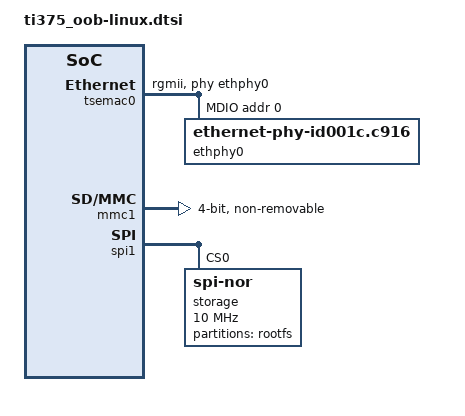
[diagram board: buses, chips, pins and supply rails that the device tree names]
// SPDX-License-Identifier: GPL-2.0
/*
 * ti375_oob: devices of the Linux hard SoC that the generator cannot describe.
 *
 * efx config includes it at the end of the generated
 * boards/efinix/ti375c529/linux/linux.dts and copies it next to it for the
 * kernel build (BR2_LINUX_KERNEL_CUSTOM_DTS_PATH).
 *
 * DDR, all no-map: Linux never touches these ranges, and nothing but the
 * owning driver maps them.
 *
 *   0x1E00_0000  32 MiB   FCU firmware (PX4 on NuttX), loaded by remoteproc;
 *                         AMP_FCU_MEM_* in ti375_oob sw/amp/amp_ctrl.h. The
 *                         last 2 MiB are meant for the Linux <-> FCU rpmsg
 *                         buffers once that is added.
 *   0x3800_0000  64 MiB   npu0
 *   0x3C00_0000  64 MiB   npu1
 *
 * NPU blobs are compiled for fixed addresses (rtl/snpu_system.json: npu0
 * 0x2000_0000 / 0x2800_0000, npu1 0x3000_0000 / 0x3800_0000), which Linux now
 * owns; the snpu driver relocates them into these regions at run time. A
 * region has to hold the blob and its scratch; YOLOv8s needs 23 MiB on npu0
 * and 34 MiB on npu1. The last MiB of each is the driver's descriptor area.
 */

/ {
	aliases {
		npu0 = &npu0;
		npu1 = &npu1;
	};

	reserved-memory {
		#address-cells = <1>;
		#size-cells = <1>;
		ranges;

		fcu_mem: fcu@1e000000 {
			reg = <0x1e000000 0x02000000>;
			no-map;
		};

		npu0_mem: npu0@38000000 {
			reg = <0x38000000 0x04000000>;
			no-map;
		};

		npu1_mem: npu1@3c000000 {
			reg = <0x3c000000 0x04000000>;
			no-map;
		};
	};

	/* StalyaNPU 32x16, CSR block on the hard SoC APB window, PLIC 9 */
	npu0: npu@e8104000 {
		compatible = "stalya,snpu";
		reg = <0xe8104000 0x100>;
		interrupt-parent = <&plic>;
		interrupts = <9>;
		memory-region = <&npu0_mem>;
	};

	/* StalyaNPU 16x8, PLIC 10 */
	npu1: npu@e8104100 {
		compatible = "stalya,snpu";
		reg = <0xe8104100 0x100>;
		interrupt-parent = <&plic>;
		interrupts = <10>;
		memory-region = <&npu1_mem>;
	};

	/*
	 * Soft FCU SoC through amp_ctrl; doorbell from the FCU on PLIC 11. The
	 * FCU is held from reset until this driver starts it: with auto-boot it
	 * loads /lib/firmware/<firmware-name> and starts it when it probes.
	 */
	/*
	 * gDMA (SpinalHDL dmasg) moves the Ethernet frames. It sits in the
	 * lowest 16 KiB of the hard SoC's APB window; the rest of that window
	 * belongs to the NPU (+0x4000) and amp_ctrl (+0x8000), so only its own
	 * 16 KiB are claimed here. Channel 0 is receive, channel 1 transmit
	 * (rtl/ti375_oob_top.v, dma_interrupts -> userInterruptG/H = PLIC 7/8).
	 */
	eth_dma: dma@e8100000 {
		compatible = "spinal,lib-dmasg";
		reg = <0xe8100000 0x4000>;
		interrupt-parent = <&plic>;
		interrupts = <7>, <8>;		/* [0] rx, [1] tx */
		#dma-cells = <1>;
		axistream-connected = <&tsemac0>;
		axistream-control-connected = <&tsemac0>;
	};

	/*
	 * gTSE, the Ethernet MAC, on AXI slave 0 of the hard SoC (16 MiB
	 * window, of which the driver touches the MAC at 0x000, the MDIO bus
	 * at 0x100 and the control block at 0x200).
	 *
	 * The RGMII timing is made in the fabric, so the PHY must not add its
	 * own delays: the mode is plain "rgmii". Transmit runs on a clock made
	 * from the PHY's CLKOUT, with TXC shifted 90 degrees; receive samples
	 * on a clock a second PLL makes from the PHY's own RXC (it used to come
	 * from CLKOUT too, which only held when the PHY was the 1000BASE-T
	 * master). The PHY reset is a control register of the MAC, not a GPIO,
	 * and the driver drives it.
	 */
	tsemac0: ethernet@ea000000 {
		compatible = "efinix,tsemac-0.01.a";
		device_type = "network";
		reg = <0xea000000 0x1000>;
		axistream-connected = <&eth_dma>;
		axistream-control-connected = <&eth_dma>;
		phy-mode = "rgmii";
		phy-handle = <&ethphy0>;
		local-mac-address = [ 02 53 54 41 4c 59 ];
		efx,rxcsum = <0x0>;
		efx,txcsum = <0x0>;
		efx,rxmem = <0x1000>;

		mdio {
			#address-cells = <1>;
			#size-cells = <0>;

			/*
			 * RTL8211F at MDIO address 0. The RX path of this
			 * bitstream is wired to the gigabit receive clock
			 * only (ETH_1000MBPS in the top level), so the link
			 * has to come up at 1000FD.
			 */
			ethphy0: ethernet-phy@0 {
				compatible = "ethernet-phy-id001c.c916";
				reg = <0>;
				max-speed = <1000>;
				reset-assert-us = <500000>;
				reset-deassert-us = <500000>;
			};
		};
	};

	fcu: fcu@e8108000 {
		compatible = "stalya,fcu-rproc";
		reg = <0xe8108000 0x40>;
		interrupt-parent = <&plic>;
		interrupts = <11>;
		memory-region = <&fcu_mem>;
		firmware-name = "px4_fcu.elf";
		stalya,auto-boot;
	};
};

/*
 * The SD card-detect interrupt never reaches Linux on this design: a card put
 * in after boot stays unseen until the host is rebound. Poll for it instead
 * (mmc core checks once a second).
 */
&mmc0 {
	broken-cd;
};

/*
 * The on-board eMMC (U43, H26M41208HPRI, 8 GB) on a second instance of the SD
 * host controller at 0xEB10_0000, interrupt on PLIC 2 (rtl/ti375_oob_top.v,
 * u_gSDHC_emmc). The controller has four data lines, so the eMMC runs 4 bit
 * although the chip has eight. As on mmc0, max-frequency is the controller's
 * base clock (sd_base_clk, 100 MHz), which the driver divides down. The
 * aliases keep the SD card at mmcblk0 and put the eMMC at mmcblk1.
 */
/ {
	aliases {
		mmc0 = &mmc0;
		mmc1 = &mmc1;
	};

	mmc1: mmc@eb100000 {
		compatible = "efx,sdhci";
		reg = <0xeb100000 0x10000>;
		interrupt-parent = <&plic>;
		interrupts = <2>;
		clocks = <&clock>;
		clock-frequency = <200000000>;
		max-frequency = <100000000>;
		bus-width = <4>;
		non-removable;
		no-sd;
		no-sdio;
		status = "okay";
	};
};

/*
 * The board carries two IS25WP512M flashes (64 MiB each) on the hard SoC's
 * SPI buses, sharing one SCLK pin (ti375_oob_top.v). Only one controller may
 * drive that pin at a time, which the SPI driver enforces with a lock across
 * controllers (patches/linux/6.6/0012-spi-spinal-lib-...).
 *
 * SPI0 is the flash the FPGA configures from and the one the JTAG bridge
 * writes: both work in 3 byte addressing, so the boot image stays under
 * 16 MiB. The rest of that chip holds what Linux writes but the bootloader
 * never reads: the FCU firmware and the board's own data.
 *
 * SPI1 is not wired to the configuration engine at all and carries the root
 * filesystem, all 64 MiB of it.
 */

&flash {
	/* The boot image ends at 16 MiB; the rest of the chip is ours. */
	partition@1000000 {
		reg = <0x1000000 0x800000>;	/* 8 MiB */
		label = "fcu_firmware";
	};

	partition@1800000 {
		reg = <0x1800000 0x2800000>;	/* 40 MiB */
		label = "data";
	};
};

&spi1 {
	#address-cells = <1>;
	#size-cells = <0>;

	storage: flash@0 {
		compatible = "jedec,spi-nor";
		reg = <0>;
		spi-max-frequency = <10000000>;
		#address-cells = <1>;
		#size-cells = <1>;
		status = "okay";

		partitions {
			compatible = "fixed-partitions";
			#address-cells = <1>;
			#size-cells = <1>;

			/* the whole chip: the squashfs the kernel boots on */
			partition@0 {
				reg = <0x0 0x4000000>;	/* 64 MiB */
				label = "rootfs";
			};
		};
	};
};
